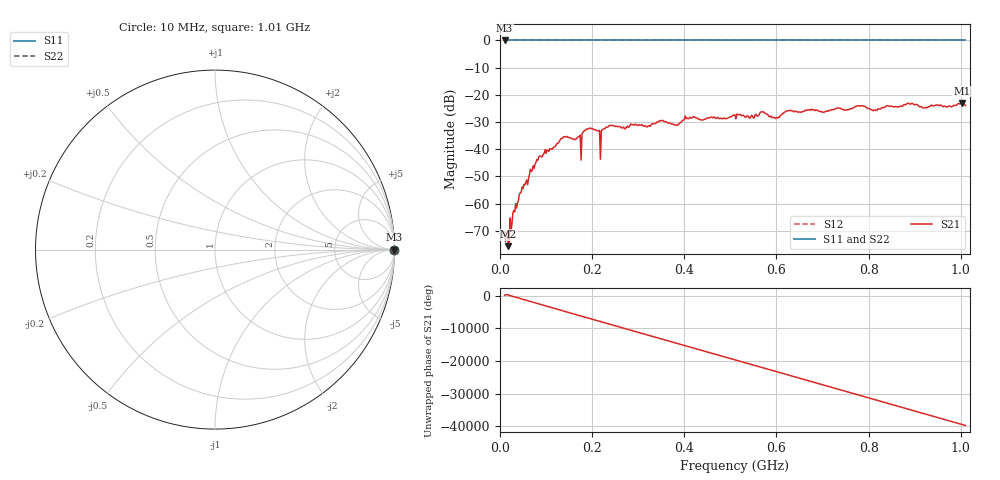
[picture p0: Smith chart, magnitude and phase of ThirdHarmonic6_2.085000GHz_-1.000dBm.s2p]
! 8/17/2025 12:57:49 AM
! C:\ANRITSUVNA\TEMP\TEMP.S2P
! CHANNEL.1
! TR.MEASUREMENT
! RAW.DATA
! RF.CORRECTION.OFF
! AVERAGING.OFF
! IF.BANDWIDTH: 5KHZ
! SWEEPTYPE:  FREQ.SWEEP(Linear)
! Reference Plane Port Info
! PORT:  PORT1  PORT2
! DISTANCE:  0  m  0  m
! TIME:  0  s  0  s
! PHASE.OFFSET:  0  deg.  0  deg.
! LOSS:  0  dB  0  dB
! REF.LOSS:  0  dB  0  dB
! REF.FREQ:  0  Hz  0  Hz
! Power Info
! POWER:  -20  dBm  -20  dBm
! EFF.POWER:  -20  dBm  -20  dBm
! SOURCE.ATTEN:  0  dB  0  dB
! TEST.ATTEN:  0  dB  0  dB
# GHZ S RI R 50.0
! FREQ.GHZ  S11RE  S11IM  S21RE  S21IM  S12RE  S12IM  S22RE  S22IM
!; PortSelection: Port_12
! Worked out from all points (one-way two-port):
!   501 points, 10 MHz to 1.01 GHz, reference 50 ohm
!   highest |S21| = -23.04 dB at 1.002 GHz (marker M1); lowest = -75.7 dB at 18 MHz (marker M2)
!   lowest |S11| = 0.0 dB at 10 MHz (marker M3)
!   |S11| at or under -10 dB: nowhere
!   |S22| runs from 0.0 to 0.0 dB; largest |S21 - S12| = 1.1
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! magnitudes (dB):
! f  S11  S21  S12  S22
! 10 MHz  0.0  -70.4  0.0  0.0
! 16 MHz  0.0  -70.7  0.0  0.0
! 18 MHz  0.0  -75.7  0.0  0.0
! 46 MHz  0.0  -55.8  0.0  0.0
! 84 MHz  0.0  -42.8  0.0  0.0
! 136 MHz  0.0  -35.9  0.0  0.0
! 178 MHz  0.0  -34.3  0.0  0.0
! 192 MHz  0.0  -32.4  0.0  0.0
! 212 MHz  0.0  -33.2  0.0  0.0
! 216 MHz  0.0  -33.0  0.0  0.0
! 240 MHz  0.0  -31.3  0.0  0.0
! 344 MHz  0.0  -29.9  0.0  0.0
! 382 MHz  0.0  -31.0  0.0  0.0
! 406 MHz  0.0  -28.6  0.0  0.0
! 510 MHz  0.0  -27.5  0.0  0.0
! 570 MHz  0.0  -26.2  0.0  0.0
! 602 MHz  0.0  -28.5  0.0  0.0
! 624 MHz  0.0  -25.9  0.0  0.0
! 678 MHz  0.0  -25.4  0.0  0.0
! 844 MHz  0.0  -24.2  0.0  0.0
! 1.002 GHz  0.0  -23.0  0.0  0.0
! 1.01 GHz  0.0  -23.9  0.0  0.0
